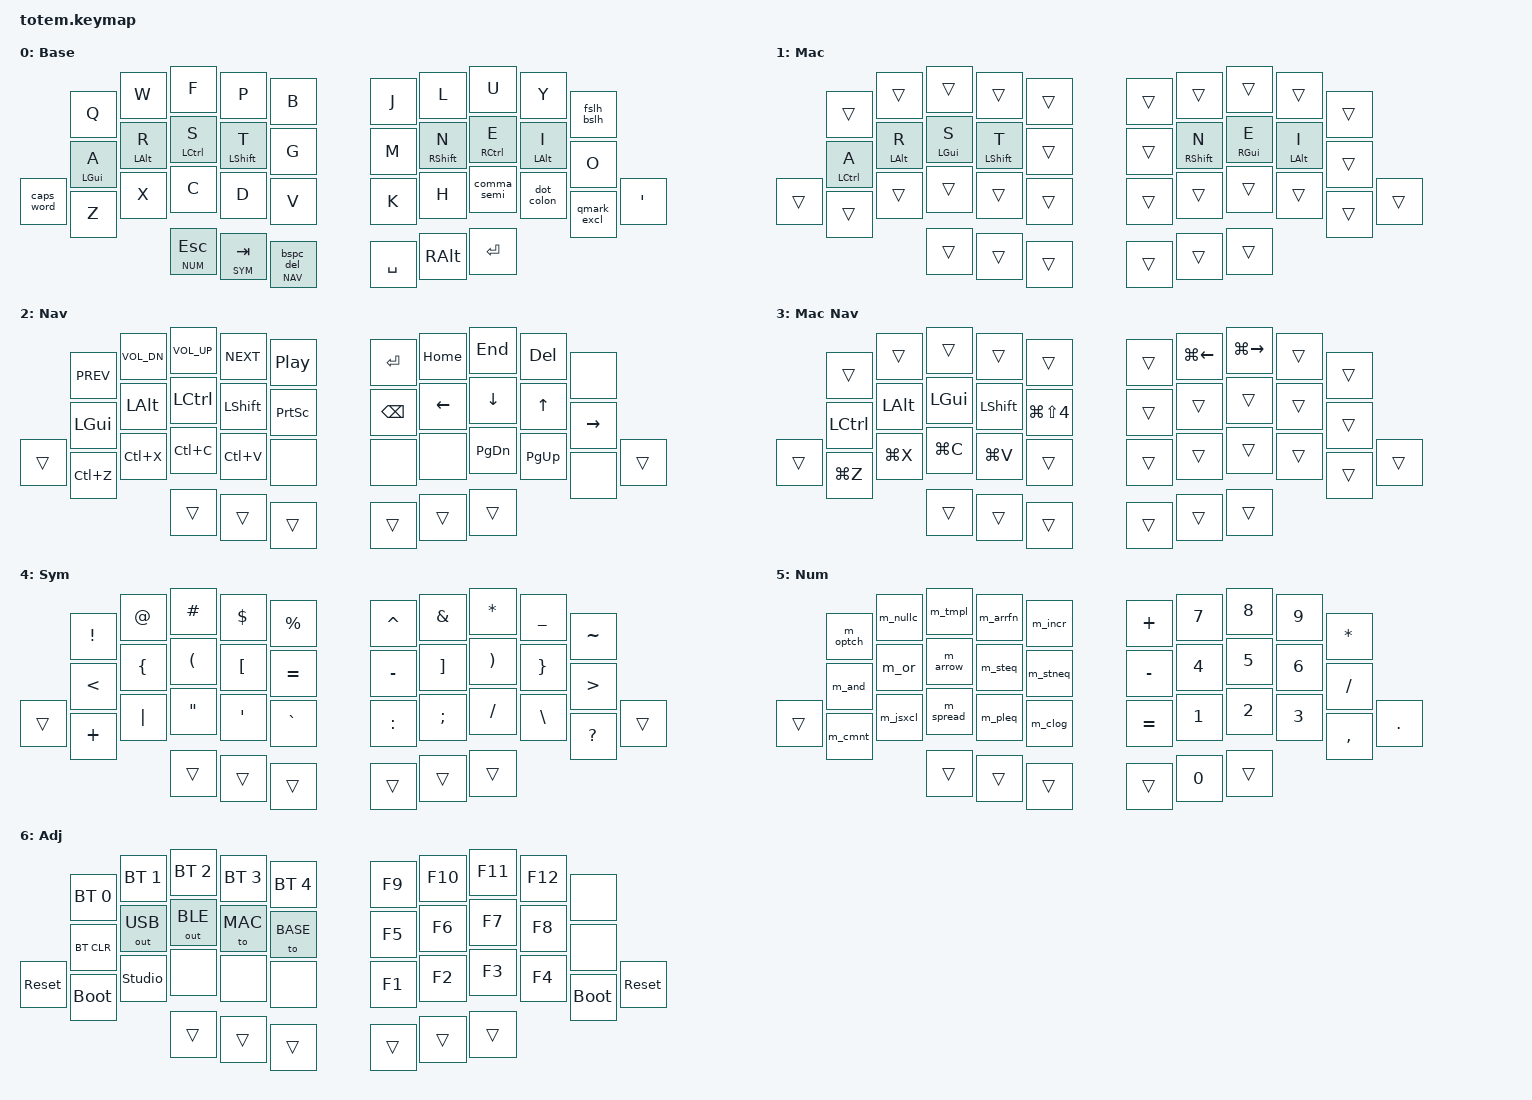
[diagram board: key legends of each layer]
/*
 * TOTEM (38 keys) — Colemak-DH + home-row mods, ZMK
 * Built for: Polish + English, coding in JS / Python / Java, on Windows, Linux and macOS
 *
 * ── OS setup (do this once per computer) ───────────────────────────────────────────
 *   Windows : keyboard layout "Polish (Programmers)"      (Polski programisty)
 *   Linux   : keyboard layout "Polish"                    (xkb: pl)
 *   macOS   : input source  "Polish" (older macOS: "Polish Pro") — NOT "Polish QWERTZ"
 *   All three are the US layout + Polish letters on AltGr/Option, so every symbol
 *   on SYM/NUM is identical everywhere.
 *
 * ── Polish letters: hold AltGr (right middle thumb) + letter, add Shift for capitals ──────
 *     ą=A  ć=C  ę=E  ł=L  ń=N  ó=O  ś=S  ż=Z  ź=X
 *
 * ── OS mode (hold Esc + Tab → ADJ) ────────────────────────────────────────────────
 *   Win/Linux (default) : home row  GUI    Alt    Ctrl  ⇧Shift
 *   Mac                 : home row  ⌃Ctrl  ⎇Alt  ⌘Cmd  ⇧Shift  + NAV sends Cmd-shortcuts
 *   → "middle finger + C" copies on every OS; jump a word with NAV + middle + arrow (Win/Linux)
 *     or NAV + ring + arrow (Mac, Opt)
 *
 * Key positions:
 *   0  1  2  3  4      5  6  7  8  9
 *  10 11 12 13 14     15 16 17 18 19
 * 20 21 22 23 24 25   26 27 28 29 30 31
 *          32 33 34   35 36 37
 */

#include <behaviors.dtsi>
#include <dt-bindings/zmk/keys.h>
#include <dt-bindings/zmk/bt.h>
#include <dt-bindings/zmk/outputs.h>

/* Layer order matters: a higher number wins when several layers are active */
/* These numbers MUST follow the order of the layer blocks in the keymap below */
#define BASE    0
#define MAC     1
#define NAV     2
#define MAC_NAV 3
#define SYM     4
#define NUM     5
#define ADJ     6

#define KEYS_L 0 1 2 3 4 10 11 12 13 14 20 21 22 23 24 25
#define KEYS_R 5 6 7 8 9 15 16 17 18 19 26 27 28 29 30 31
#define THUMBS 32 33 34 35 36 37

/* Layer-tap thumbs: hold as soon as another key is tapped while held */
&lt {
    flavor = "balanced";
    tapping-term-ms = <200>;
    quick-tap-ms = <175>;
};

/* AltGr thumb: hold wins as soon as another key is pressed */
&mt {
    flavor = "hold-preferred";
    tapping-term-ms = <200>;
    quick-tap-ms = <175>;
};

/ {
    behaviors {
        /* Home-row mods: a key pressed WITHIN the tapping term only triggers the
           modifier if it is on the OTHER hand (or a thumb) — so fast same-hand
           rolls stay letters. Once the mod key is held past the tapping term
           (280 ms) it is a modifier for any key, so same-hand combos like
           Ctrl+A still work if you hold the mod a moment first. */
        hml: homerow_mods_left {
            compatible = "zmk,behavior-hold-tap";
            #binding-cells = <2>;
            flavor = "balanced";
            tapping-term-ms = <280>;
            quick-tap-ms = <175>;
            require-prior-idle-ms = <150>;
            hold-trigger-key-positions = <KEYS_R THUMBS>;
            hold-trigger-on-release;
            bindings = <&kp>, <&kp>;
        };
        hmr: homerow_mods_right {
            compatible = "zmk,behavior-hold-tap";
            #binding-cells = <2>;
            flavor = "balanced";
            tapping-term-ms = <280>;
            quick-tap-ms = <175>;
            require-prior-idle-ms = <150>;
            hold-trigger-key-positions = <KEYS_L THUMBS>;
            hold-trigger-on-release;
            bindings = <&kp>, <&kp>;
        };

        /* Base-layer punctuation with custom shifted symbols
           (use the LEFT shift — T — since these keys are on the right hand) */
        comma_semi: comma_semicolon {
            compatible = "zmk,behavior-mod-morph";
            #binding-cells = <0>;
            bindings = <&kp COMMA>, <&kp SEMI>;
            mods = <(MOD_LSFT|MOD_RSFT)>;
        };
        dot_colon: dot_colon {
            compatible = "zmk,behavior-mod-morph";
            #binding-cells = <0>;
            bindings = <&kp DOT>, <&kp COLON>;
            mods = <(MOD_LSFT|MOD_RSFT)>;
        };
        fslh_bslh: slash_backslash {
            compatible = "zmk,behavior-mod-morph";
            #binding-cells = <0>;
            bindings = <&kp FSLH>, <&kp BSLH>;
            mods = <(MOD_LSFT|MOD_RSFT)>;
        };
        /* Esc thumb (NUM) and Tab thumb (SYM): tap = key, hold = layer.
           hold-preferred = any key pressed while it is held means the layer (even if
           the thumb is released first); no quick-tap, so a fast second press is
           always the layer, never a repeated Esc/Tab. */
        lt_hp: layer_tap_hold_preferred {
            compatible = "zmk,behavior-hold-tap";
            #binding-cells = <2>;
            flavor = "hold-preferred";
            tapping-term-ms = <200>;
            quick-tap-ms = <0>;
            bindings = <&mo>, <&kp>;
        };

        /* Backspace: Shift (T or N) + Bspc sends Delete (Shift is not sent along) */
        bspc_del: backspace_delete {
            compatible = "zmk,behavior-mod-morph";
            #binding-cells = <0>;
            bindings = <&kp BSPC>, <&kp DEL>;
            mods = <(MOD_LSFT|MOD_RSFT)>;
        };

        /* Bspc / NAV thumb (left inner): tap = Backspace (⇧ = Delete), hold = NAV.
           - pressed within 150 ms of the last key while typing -> always Backspace
             (no accidental NAV mid-word)
           - no quick-tap: tap-then-hold is always NAV (repeat Bspc/Del from NAV: M / Y)
           Use as: &lt_bs NAV 0  (the 0 is ignored by bspc_del) */
        lt_bs: layer_tap_backspace {
            compatible = "zmk,behavior-hold-tap";
            #binding-cells = <2>;
            flavor = "balanced";
            tapping-term-ms = <200>;
            quick-tap-ms = <0>;
            require-prior-idle-ms = <150>;
            bindings = <&mo>, <&bspc_del>;
        };
        qmark_excl: question_exclamation {
            compatible = "zmk,behavior-mod-morph";
            #binding-cells = <0>;
            bindings = <&kp QMARK>, <&kp EXCL>;
            mods = <(MOD_LSFT|MOD_RSFT)>;
        };
    };

    /* JS macros for the NUM layer — each key types a whole snippet.
       ${} and console.log() leave the cursor between the brackets. */
    macros {
        m_optch: m_optch {
            compatible = "zmk,behavior-macro";
            #binding-cells = <0>;
            bindings = <&kp QMARK &kp DOT>;
        };
        m_nullc: m_nullc {
            compatible = "zmk,behavior-macro";
            #binding-cells = <0>;
            bindings = <&kp QMARK &kp QMARK>;
        };
        m_tmpl: m_tmpl {
            compatible = "zmk,behavior-macro";
            #binding-cells = <0>;
            bindings = <&kp DLLR &kp LBRC &kp RBRC &kp LEFT>;
        };
        m_arrfn: m_arrfn {
            compatible = "zmk,behavior-macro";
            #binding-cells = <0>;
            bindings = <&kp LPAR &kp RPAR &kp SPACE &kp EQUAL &kp GT &kp SPACE>;
        };
        m_incr: m_incr {
            compatible = "zmk,behavior-macro";
            #binding-cells = <0>;
            bindings = <&kp PLUS &kp PLUS>;
        };
        m_and: m_and {
            compatible = "zmk,behavior-macro";
            #binding-cells = <0>;
            bindings = <&kp AMPS &kp AMPS>;
        };
        m_or: m_or {
            compatible = "zmk,behavior-macro";
            #binding-cells = <0>;
            bindings = <&kp PIPE &kp PIPE>;
        };
        m_arrow: m_arrow {
            compatible = "zmk,behavior-macro";
            #binding-cells = <0>;
            bindings = <&kp EQUAL &kp GT>;
        };
        m_steq: m_steq {
            compatible = "zmk,behavior-macro";
            #binding-cells = <0>;
            bindings = <&kp EQUAL &kp EQUAL &kp EQUAL>;
        };
        m_stneq: m_stneq {
            compatible = "zmk,behavior-macro";
            #binding-cells = <0>;
            bindings = <&kp EXCL &kp EQUAL &kp EQUAL>;
        };
        m_cmnt: m_cmnt {
            compatible = "zmk,behavior-macro";
            #binding-cells = <0>;
            bindings = <&kp FSLH &kp FSLH &kp SPACE>;
        };
        m_jsxcl: m_jsxcl {
            compatible = "zmk,behavior-macro";
            #binding-cells = <0>;
            bindings = <&kp LT &kp FSLH>;
        };
        m_spread: m_spread {
            compatible = "zmk,behavior-macro";
            #binding-cells = <0>;
            bindings = <&kp DOT &kp DOT &kp DOT>;
        };
        m_pleq: m_pleq {
            compatible = "zmk,behavior-macro";
            #binding-cells = <0>;
            bindings = <&kp PLUS &kp EQUAL>;
        };
        m_clog: m_clog {
            compatible = "zmk,behavior-macro";
            #binding-cells = <0>;
            bindings = <&kp C &kp O &kp N &kp S &kp O &kp L &kp E &kp DOT &kp L &kp O &kp G &kp LPAR &kp RPAR &kp LEFT>;
        };
    };

    conditional_layers {
        compatible = "zmk,conditional-layers";
        /* Hold Esc (NUM) + Tab (SYM) together -> ADJ (Bluetooth, OS mode, reset) */
        adjust {
            if-layers = <SYM NUM>;
            then-layer = <ADJ>;
        };
        /* Mac mode + NAV -> Mac versions of the NAV shortcuts */
        mac_nav {
            if-layers = <MAC NAV>;
            then-layer = <MAC_NAV>;
        };
    };

    keymap {
        compatible = "zmk,keymap";

        base_layer {
            display-name = "Base";
// ▄▄▄▄▄▄▄▄▄▄▄▄▄▄▄▄▄▄▄▄▄▄▄▄▄▄▄▄▄▄▄▄▄▄▄▄▄▄▄▄▄▄▄▄▄▄▄▄▄▄▄▄▄▄▄▄▄▄▄▄▄▄▄▄▄▄▄▄▄▄▄▄▄▄▄▄▄▄▄▄▄▄▄▄▄▄▄▄▄▄▄▄▄▄▄▄▄▄▄▄▄▄▄▄▄▄▄▄▄▄▄▄▄▄▄▄▄▄▄▄▄▄▄▄▄▄▄▄▄▄▄▄▄▄▄▄▄▄▄▄▄▄▄▄▄▄▄▄▄▄▄▄▄▄▄▄▄▄▄▄▄▄▄▄▄▄▄▄▄▄▄▄▄▄▄▄▄▄▄▄▄▄▄
// Capitals: hold T (left Shift) for right-hand letters, N (right Shift) for left-hand letters, or Caps Word
//              ┌──────────────┬──────────────┬──────────────┬──────────────┬──────────────┐   ┌──────────────┬──────────────┬──────────────┬──────────────┬──────────────┐
//              │  Q           │  W           │  F           │  P           │  B           │   │  J           │  L           │  U           │  Y           │  /   ⇧\      │
//              │  A (GUI)     │  R (Alt)     │  S (Ctrl)    │  T (Shift)   │  G           │   │  M           │  N (Shift)   │  E (Ctrl)    │  I (Alt)     │  O           │
//┌─────────────┤  Z           │  X           │  C           │  D           │  V           │   │  K           │  H           │  ,   ⇧;      │  .   ⇧:      │  ?   ⇧!      ├──────────────┐
//│CAPSW        └──────────────┴──────────────┼──────────────┼──────────────┼──────────────┤   ├──────────────┼──────────────┼──────────────┼──────────────┴──────────────┘  '   ⇧"      │
//└─────────────┘                             │ Esc          │ Tab          │ Bspc  ⇧Del   │   │ Space        │ AltGr        │ Enter        │                             └──────────────┘
//                                            │ NUM          │ SYM          │ NAV          │   │              │              │              │
//                                            └──────────────┴──────────────┴──────────────┘   └──────────────┴──────────────┴──────────────┘
            bindings = <
//|             |              |              |              |              |              |   |              |              |              |              |              |              |
                &kp Q          &kp W          &kp F          &kp P          &kp B              &kp J          &kp L          &kp U          &kp Y          &fslh_bslh
                &hml LGUI A    &hml LALT R    &hml LCTRL S   &hml LSHFT T   &kp G              &kp M          &hmr RSHFT N   &hmr RCTRL E   &hmr LALT I    &kp O
  &caps_word    &kp Z          &kp X          &kp C          &kp D          &kp V              &kp K          &kp H          &comma_semi    &dot_colon     &qmark_excl    &kp SQT
                                              &lt_hp NUM ESC &lt_hp SYM TAB &lt_bs NAV 0       &kp SPACE      &kp RALT       &kp ENTER
            >;
        };

        mac_layer {
            display-name = "Mac";
// ▄▄▄▄▄▄▄▄▄▄▄▄▄▄▄▄▄▄▄▄▄▄▄▄▄▄▄▄▄▄▄▄▄▄▄▄▄▄▄▄▄▄▄▄▄▄▄▄▄▄▄▄▄▄▄▄▄▄▄▄▄▄▄▄▄▄▄▄▄▄▄▄▄▄▄▄▄▄▄▄▄▄▄▄▄▄▄▄▄▄▄▄▄▄▄▄▄▄▄▄▄▄▄▄▄▄▄▄▄▄▄▄▄▄▄▄▄▄▄▄▄▄▄▄▄▄▄▄▄▄▄▄▄▄▄▄▄▄▄▄▄▄▄▄▄▄▄▄▄▄▄▄▄▄▄▄▄▄▄▄▄▄▄▄▄▄▄▄▄▄▄▄▄▄▄▄▄▄▄▄▄▄▄
// MAC  (ADJ → Mac)  transparent overlay on BASE: only the home-row mods change
// Cmd takes the Ctrl finger, so Copy/Paste/Save… use the SAME finger on every OS
//              ┌──────────────┬──────────────┬──────────────┬──────────────┬──────────────┐   ┌──────────────┬──────────────┬──────────────┬──────────────┬──────────────┐
//              │              │              │              │              │              │   │              │              │              │              │              │
//              │ A (^)        │ R (⎇)       │ S (⌘)        │ T (⇧)        │              │   │              │ N (⇧)        │ E (⌘)        │ I (⎇)       │              │
//┌─────────────┤              │              │              │              │              │   │              │              │              │              │              ├──────────────┐
//│             └──────────────┴──────────────┼──────────────┼──────────────┼──────────────┤   ├──────────────┼──────────────┼──────────────┼──────────────┴──────────────┘              │
//└─────────────┘                             │              │              │              │   │              │              │              │                             └──────────────┘
//                                            │              │              │              │   │              │              │              │
//                                            └──────────────┴──────────────┴──────────────┘   └──────────────┴──────────────┴──────────────┘
            bindings = <
//|             |              |              |              |              |              |   |              |              |              |              |              |              |
                &trans         &trans         &trans         &trans         &trans             &trans         &trans         &trans         &trans         &trans
                &hml LCTRL A   &hml LALT R    &hml LGUI S    &hml LSHFT T   &trans             &trans         &hmr RSHFT N   &hmr RGUI E    &hmr LALT I    &trans
  &trans        &trans         &trans         &trans         &trans         &trans             &trans         &trans         &trans         &trans         &trans         &trans
                                              &trans         &trans         &trans             &trans         &trans         &trans
            >;
        };

        nav_layer {
            display-name = "Nav";
// ▄▄▄▄▄▄▄▄▄▄▄▄▄▄▄▄▄▄▄▄▄▄▄▄▄▄▄▄▄▄▄▄▄▄▄▄▄▄▄▄▄▄▄▄▄▄▄▄▄▄▄▄▄▄▄▄▄▄▄▄▄▄▄▄▄▄▄▄▄▄▄▄▄▄▄▄▄▄▄▄▄▄▄▄▄▄▄▄▄▄▄▄▄▄▄▄▄▄▄▄▄▄▄▄▄▄▄▄▄▄▄▄▄▄▄▄▄▄▄▄▄▄▄▄▄▄▄▄▄▄▄▄▄▄▄▄▄▄▄▄▄▄▄▄▄▄▄▄▄▄▄▄▄▄▄▄▄▄▄▄▄▄▄▄▄▄▄▄▄▄▄▄▄▄▄▄▄▄▄▄▄▄▄
// NAV (hold Bspc thumb): vim-style arrows on N E I O (h j k l), Home/End on L/U, Del on Y, Bspc on M, Enter on J, PgDn/PgUp on , and . (under ↓/↑), mods + clipboard on left
// Ctrl+arrow = jump word   Shift+arrow = select   Alt+Tab = switch app
//              ┌──────────────┬──────────────┬──────────────┬──────────────┬──────────────┐   ┌──────────────┬──────────────┬──────────────┬──────────────┬──────────────┐
//              │ Prev         │ Vol-         │ Vol+         │ Next         │ Play         │   │ Enter        │ Home         │ End          │ Del          │              │
//              │ GUI          │ Alt          │ Ctrl         │ Shift        │ PrtSc        │   │ Bspc         │ ←            │ ↓            │ ↑            │ →            │
//┌─────────────┤ Undo         │ Cut          │ Copy         │ Paste        │              │   │              │              │ PgDn         │ PgUp         │              ├──────────────┐
//│CAPSW        └──────────────┴──────────────┼──────────────┼──────────────┼──────────────┤   ├──────────────┼──────────────┼──────────────┼──────────────┴──────────────┘  '           │
//└─────────────┘                             │ Esc          │ Tab          │ Bspc  ⇧Del   │   │ Space        │ AltGr        │ Enter        │                             └──────────────┘
//                                            │ NUM          │ SYM          │ NAV          │   │              │              │              │
//                                            └──────────────┴──────────────┴──────────────┘   └──────────────┴──────────────┴──────────────┘
            bindings = <
//|             |              |              |              |              |              |   |              |              |              |              |              |              |
                &kp C_PREV     &kp C_VOL_DN   &kp C_VOL_UP   &kp C_NEXT     &kp C_PP           &kp ENTER      &kp HOME       &kp END        &kp DEL        &none
                &kp LGUI       &kp LALT       &kp LCTRL      &kp LSHFT      &kp PSCRN          &kp BSPC       &kp LEFT       &kp DOWN       &kp UP         &kp RIGHT
  &trans        &kp LC(Z)      &kp LC(X)      &kp LC(C)      &kp LC(V)      &none              &none          &none          &kp PG_DN      &kp PG_UP      &none          &trans
                                              &trans         &trans         &trans             &trans         &trans         &trans
            >;
        };

        mac_nav_layer {
            display-name = "Mac Nav";
// ▄▄▄▄▄▄▄▄▄▄▄▄▄▄▄▄▄▄▄▄▄▄▄▄▄▄▄▄▄▄▄▄▄▄▄▄▄▄▄▄▄▄▄▄▄▄▄▄▄▄▄▄▄▄▄▄▄▄▄▄▄▄▄▄▄▄▄▄▄▄▄▄▄▄▄▄▄▄▄▄▄▄▄▄▄▄▄▄▄▄▄▄▄▄▄▄▄▄▄▄▄▄▄▄▄▄▄▄▄▄▄▄▄▄▄▄▄▄▄▄▄▄▄▄▄▄▄▄▄▄▄▄▄▄▄▄▄▄▄▄▄▄▄▄▄▄▄▄▄▄▄▄▄▄▄▄▄▄▄▄▄▄▄▄▄▄▄▄▄▄▄▄▄▄▄▄▄▄▄▄▄▄▄
// MAC NAV (Mac mode + hold Bspc thumb): mods match the Mac home-row mods (Ctrl Opt Cmd Shift)
// ring = ⌥ Opt (⌥+arrow = jump word)   middle = ⌘ Cmd (⌘+Tab)   Home/End = Cmd+←/→ (line start/end)   G = ⌘⇧4 area screenshot
//              ┌──────────────┬──────────────┬──────────────┬──────────────┬──────────────┐   ┌──────────────┬──────────────┬──────────────┬──────────────┬──────────────┐
//              │              │              │              │              │              │   │              │ ⌘ + ←        │ ⌘ + →        │              │              │
//              │ ⌃ Ctrl       │ ⌥ Opt        │ ⌘ Cmd        │ ⇧ Shift      │ ⌘⇧4 snip     │   │              │              │              │              │              │
//┌─────────────┤ ⌘Z           │ ⌘X           │ ⌘C           │ ⌘V           │              │   │              │              │              │              │              ├──────────────┐
//│             └──────────────┴──────────────┼──────────────┼──────────────┼──────────────┤   ├──────────────┼──────────────┼──────────────┼──────────────┴──────────────┘              │
//└─────────────┘                             │              │              │              │   │              │              │              │                             └──────────────┘
//                                            │              │              │              │   │              │              │              │
//                                            └──────────────┴──────────────┴──────────────┘   └──────────────┴──────────────┴──────────────┘
            bindings = <
//|             |              |              |              |              |              |   |              |              |              |              |              |              |
                &trans         &trans         &trans         &trans         &trans             &trans         &kp LG(LEFT)   &kp LG(RIGHT)  &trans         &trans
                &kp LCTRL      &kp LALT       &kp LGUI       &kp LSHFT      &kp LG(LS(N4))     &trans         &trans         &trans         &trans         &trans
  &trans        &kp LG(Z)      &kp LG(X)      &kp LG(C)      &kp LG(V)      &trans             &trans         &trans         &trans         &trans         &trans         &trans
                                              &trans         &trans         &trans             &trans         &trans         &trans
            >;
        };

        sym_layer {
            display-name = "Sym";
// ▄▄▄▄▄▄▄▄▄▄▄▄▄▄▄▄▄▄▄▄▄▄▄▄▄▄▄▄▄▄▄▄▄▄▄▄▄▄▄▄▄▄▄▄▄▄▄▄▄▄▄▄▄▄▄▄▄▄▄▄▄▄▄▄▄▄▄▄▄▄▄▄▄▄▄▄▄▄▄▄▄▄▄▄▄▄▄▄▄▄▄▄▄▄▄▄▄▄▄▄▄▄▄▄▄▄▄▄▄▄▄▄▄▄▄▄▄▄▄▄▄▄▄▄▄▄▄▄▄▄▄▄▄▄▄▄▄▄▄▄▄▄▄▄▄▄▄▄▄▄▄▄▄▄▄▄▄▄▄▄▄▄▄▄▄▄▄▄▄▄▄▄▄▄▄▄▄▄▄▄▄▄▄
// SYM (hold Tab): brackets mirrored on home row, open left / close right
// JS/Py/Java: =>  ->  ::  ||  &&  !=  ==  `${}`  #  @  _ all within one layer
//              ┌──────────────┬──────────────┬──────────────┬──────────────┬──────────────┐   ┌──────────────┬──────────────┬──────────────┬──────────────┬──────────────┐
//              │  !           │  @           │  #           │  $           │  %           │   │  ^           │  &           │  *           │  _           │  ~           │
//              │  <           │  {           │  (           │  [           │  =           │   │  -           │  ]           │  )           │  }           │  >           │
//┌─────────────┤  +           │  |           │  "           │  '           │  `           │   │  :           │  ;           │  /           │  \           │  ?           ├──────────────┐
//│CAPSW        └──────────────┴──────────────┼──────────────┼──────────────┼──────────────┤   ├──────────────┼──────────────┼──────────────┼──────────────┴──────────────┘  '           │
//└─────────────┘                             │ Esc          │ Tab          │ Bspc  ⇧Del   │   │ Space        │ AltGr        │ Enter        │                             └──────────────┘
//                                            │ NUM          │ SYM          │ NAV          │   │              │              │              │
//                                            └──────────────┴──────────────┴──────────────┘   └──────────────┴──────────────┴──────────────┘
            bindings = <
//|             |              |              |              |              |              |   |              |              |              |              |              |              |
                &kp EXCL       &kp AT         &kp HASH       &kp DLLR       &kp PRCNT          &kp CARET      &kp AMPS       &kp STAR       &kp UNDER      &kp TILDE
                &kp LT         &kp LBRC       &kp LPAR       &kp LBKT       &kp EQUAL          &kp MINUS      &kp RBKT       &kp RPAR       &kp RBRC       &kp GT
  &trans        &kp PLUS       &kp PIPE       &kp DQT        &kp SQT        &kp GRAVE          &kp COLON      &kp SEMI       &kp FSLH       &kp BSLH       &kp QMARK      &trans
                                              &trans         &trans         &trans             &trans         &trans         &trans
            >;
        };

        num_layer {
            display-name = "Num";
// ▄▄▄▄▄▄▄▄▄▄▄▄▄▄▄▄▄▄▄▄▄▄▄▄▄▄▄▄▄▄▄▄▄▄▄▄▄▄▄▄▄▄▄▄▄▄▄▄▄▄▄▄▄▄▄▄▄▄▄▄▄▄▄▄▄▄▄▄▄▄▄▄▄▄▄▄▄▄▄▄▄▄▄▄▄▄▄▄▄▄▄▄▄▄▄▄▄▄▄▄▄▄▄▄▄▄▄▄▄▄▄▄▄▄▄▄▄▄▄▄▄▄▄▄▄▄▄▄▄▄▄▄▄▄▄▄▄▄▄▄▄▄▄▄▄▄▄▄▄▄▄▄▄▄▄▄▄▄▄▄▄▄▄▄▄▄▄▄▄▄▄▄▄▄▄▄▄▄▄▄▄▄▄
// NUM (hold Esc): JS snippets on left hand, numpad on right hand (0 on right thumb)
//              ┌──────────────┬──────────────┬──────────────┬──────────────┬──────────────┐   ┌──────────────┬──────────────┬──────────────┬──────────────┬──────────────┐
//              │  ?.          │  ??          │  ${}         │  () =>       │  ++          │   │  +           │  7           │  8           │  9           │  *           │
//              │  &&          │  ||          │  =>          │  ===         │  !==         │   │  -           │  4           │  5           │  6           │  /           │
//┌─────────────┤  //          │  </          │  ...         │  +=          │ console.log()│   │  =           │  1           │  2           │  3           │  ,           ├──────────────┐
//│CAPSW        └──────────────┴──────────────┼──────────────┼──────────────┼──────────────┤   ├──────────────┼──────────────┼──────────────┼──────────────┴──────────────┘  .           │
//└─────────────┘                             │ Esc          │ Tab          │ Bspc  ⇧Del   │   │ Space        │  0           │ Enter        │                             └──────────────┘
//                                            │ NUM          │ SYM          │ NAV          │   │              │              │              │
//                                            └──────────────┴──────────────┴──────────────┘   └──────────────┴──────────────┴──────────────┘
            bindings = <
//|             |              |              |              |              |              |   |              |              |              |              |              |              |
                &m_optch       &m_nullc       &m_tmpl        &m_arrfn       &m_incr            &kp PLUS       &kp N7         &kp N8         &kp N9         &kp STAR
                &m_and         &m_or          &m_arrow       &m_steq        &m_stneq           &kp MINUS      &kp N4         &kp N5         &kp N6         &kp FSLH
  &trans        &m_cmnt        &m_jsxcl       &m_spread      &m_pleq        &m_clog            &kp EQUAL      &kp N1         &kp N2         &kp N3         &kp COMMA      &kp DOT
                                              &trans         &trans         &trans             &trans         &kp N0         &trans
            >;
        };

        adj_layer {
            display-name = "Adj";
// ▄▄▄▄▄▄▄▄▄▄▄▄▄▄▄▄▄▄▄▄▄▄▄▄▄▄▄▄▄▄▄▄▄▄▄▄▄▄▄▄▄▄▄▄▄▄▄▄▄▄▄▄▄▄▄▄▄▄▄▄▄▄▄▄▄▄▄▄▄▄▄▄▄▄▄▄▄▄▄▄▄▄▄▄▄▄▄▄▄▄▄▄▄▄▄▄▄▄▄▄▄▄▄▄▄▄▄▄▄▄▄▄▄▄▄▄▄▄▄▄▄▄▄▄▄▄▄▄▄▄▄▄▄▄▄▄▄▄▄▄▄▄▄▄▄▄▄▄▄▄▄▄▄▄▄▄▄▄▄▄▄▄▄▄▄▄▄▄▄▄▄▄▄▄▄▄▄▄▄▄▄▄▄
// ADJ (hold Esc + Tab): Bluetooth, USB/BLE, OS mode, bootloader on left hand, F-keys on right hand
// Shift+F6 / Alt+F4…: hold the mod on the LEFT home row first, then hold Esc + Tab, then tap F-key
// OS mode is not remembered after power-off — it always starts in Win/Linux
//              ┌──────────────┬──────────────┬──────────────┬──────────────┬──────────────┐   ┌──────────────┬──────────────┬──────────────┬──────────────┬──────────────┐
//              │ BT 0         │ BT 1         │ BT 2         │ BT 3         │ BT 4         │   │ F9           │ F10          │ F11          │ F12          │              │
//              │ BT Clear     │ USB          │ BLE          │ Mac          │ Win/Linux    │   │ F5           │ F6           │ F7           │ F8           │              │
//┌─────────────┤ Bootloader   │ Studio ulck  │              │              │              │   │ F1           │ F2           │ F3           │ F4           │ Bootloader   ├──────────────┐
//│ Reset       └──────────────┴──────────────┼──────────────┼──────────────┼──────────────┤   ├──────────────┼──────────────┼──────────────┼──────────────┴──────────────┘ Reset        │
//└─────────────┘                             │ Esc          │ Tab          │ Bspc  ⇧Del   │   │ Space        │ AltGr        │ Enter        │                             └──────────────┘
//                                            │ NUM          │ SYM          │ NAV          │   │              │              │              │
//                                            └──────────────┴──────────────┴──────────────┘   └──────────────┴──────────────┴──────────────┘
            bindings = <
//|             |              |              |              |              |              |   |              |              |              |              |              |              |
                &bt BT_SEL 0   &bt BT_SEL 1   &bt BT_SEL 2   &bt BT_SEL 3   &bt BT_SEL 4       &kp F9         &kp F10        &kp F11        &kp F12        &none
                &bt BT_CLR     &out OUT_USB   &out OUT_BLE   &to MAC        &to BASE           &kp F5         &kp F6         &kp F7         &kp F8         &none
  &sys_reset    &bootloader    &studio_unlock &none          &none          &none              &kp F1         &kp F2         &kp F3         &kp F4         &bootloader    &sys_reset
                                              &trans         &trans         &trans             &trans         &trans         &trans
            >;
        };
    };
};
